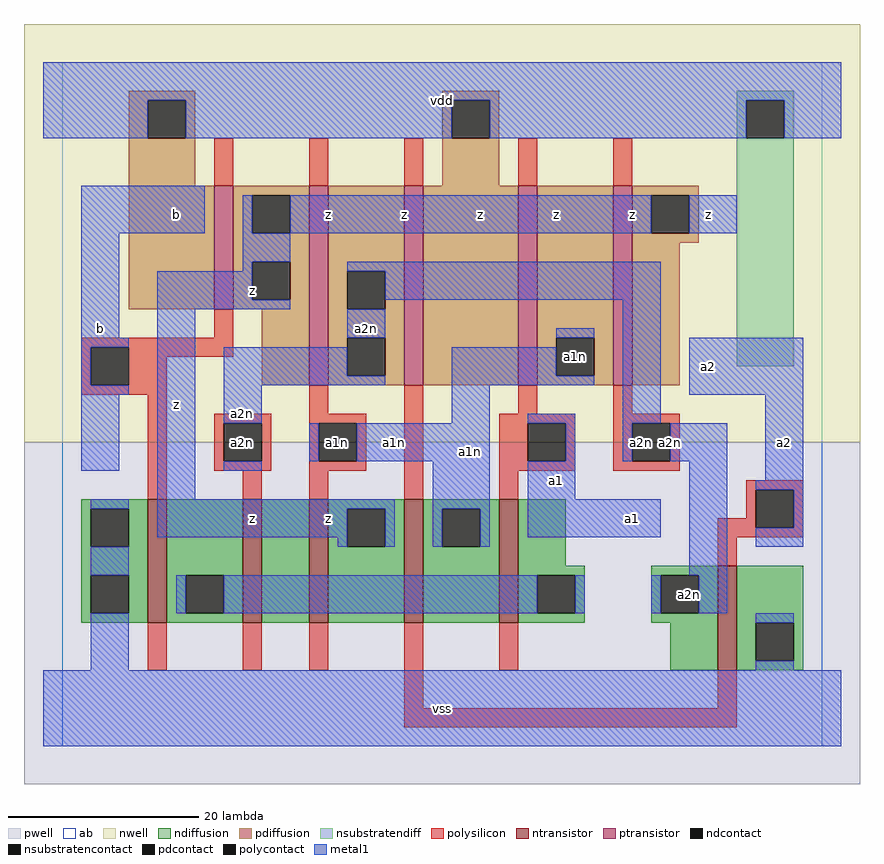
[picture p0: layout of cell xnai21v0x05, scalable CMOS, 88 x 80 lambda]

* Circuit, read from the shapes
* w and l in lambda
.subckt xnai21v0x05 a1 a1n a2 a2n b vdd vss z
M1 n1 b vss VSUBS nfet w=13 l=2
M2 n2 a2n n1 VSUBS nfet w=13 l=2
M3 z a1n n2 VSUBS nfet w=13 l=2
M4 a1n a2 z VSUBS nfet w=13 l=2
M5 n1 a1 a1n VSUBS nfet w=13 l=2
M6 vss a2 a2n VSUBS nfet w=11 l=2
M7 z b vdd vdd pfet w=13 l=2
M8 a2n a1n z vdd pfet w=21 l=2
M9 vdd a2 a2n vdd pfet w=21 l=2
M10 a1n a1 vdd vdd pfet w=21 l=2
M11 z a2n a1n vdd pfet w=21 l=2
.ends

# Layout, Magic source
magic
tech scmos
<< ab >>
rect 0 0 80 72
<< pwell >>
rect -4 -4 84 32
<< nwell >>
rect -4 32 84 76
<< polysilicon >>
rect 16 59 18 64
rect 26 59 28 64
rect 36 59 38 64
rect 48 59 50 64
rect 58 59 60 64
rect 16 43 18 46
rect 2 42 18 43
rect 2 38 3 42
rect 7 41 18 42
rect 7 38 11 41
rect 2 37 11 38
rect 9 26 11 37
rect 26 35 28 38
rect 16 34 22 35
rect 16 30 17 34
rect 21 30 22 34
rect 16 29 22 30
rect 26 34 32 35
rect 26 30 27 34
rect 31 30 32 34
rect 26 29 32 30
rect 19 26 21 29
rect 26 26 28 29
rect 36 26 38 38
rect 48 35 50 38
rect 58 35 60 38
rect 46 34 54 35
rect 46 30 49 34
rect 53 30 54 34
rect 46 29 54 30
rect 58 34 65 35
rect 58 30 60 34
rect 64 30 65 34
rect 58 29 65 30
rect 46 26 48 29
rect 72 27 78 28
rect 72 24 73 27
rect 69 23 73 24
rect 77 23 78 27
rect 69 22 78 23
rect 69 19 71 22
rect 9 8 11 13
rect 19 8 21 13
rect 26 8 28 13
rect 36 4 38 13
rect 46 8 48 13
rect 69 4 71 8
rect 36 2 71 4
<< ndiffusion >>
rect 2 25 9 26
rect 2 21 3 25
rect 7 21 9 25
rect 2 18 9 21
rect 2 14 3 18
rect 7 14 9 18
rect 2 13 9 14
rect 11 18 19 26
rect 11 14 13 18
rect 17 14 19 18
rect 11 13 19 14
rect 21 13 26 26
rect 28 25 36 26
rect 28 21 30 25
rect 34 21 36 25
rect 28 13 36 21
rect 38 25 46 26
rect 38 21 40 25
rect 44 21 46 25
rect 38 13 46 21
rect 48 19 53 26
rect 48 18 55 19
rect 48 14 50 18
rect 54 14 55 18
rect 48 13 55 14
rect 62 18 69 19
rect 62 14 63 18
rect 67 14 69 18
rect 62 13 69 14
rect 64 8 69 13
rect 71 13 78 19
rect 71 9 73 13
rect 77 9 78 13
rect 71 8 78 9
<< pdiffusion >>
rect 7 68 14 69
rect 7 64 9 68
rect 13 64 14 68
rect 40 68 46 69
rect 40 64 41 68
rect 45 64 46 68
rect 7 59 14 64
rect 40 59 46 64
rect 7 46 16 59
rect 18 58 26 59
rect 18 54 20 58
rect 24 54 26 58
rect 18 51 26 54
rect 18 47 20 51
rect 24 47 26 51
rect 18 46 26 47
rect 21 38 26 46
rect 28 50 36 59
rect 28 46 30 50
rect 34 46 36 50
rect 28 43 36 46
rect 28 39 30 43
rect 34 39 36 43
rect 28 38 36 39
rect 38 38 48 59
rect 50 43 58 59
rect 50 39 52 43
rect 56 39 58 43
rect 50 38 58 39
rect 60 58 67 59
rect 60 54 62 58
rect 66 54 67 58
rect 60 53 67 54
rect 60 38 65 53
<< metal1 >>
rect -2 68 82 72
rect -2 64 9 68
rect 13 64 41 68
rect 45 64 72 68
rect 76 64 82 68
rect 2 54 15 59
rect 19 54 20 58
rect 24 54 62 58
rect 66 54 71 58
rect 2 43 6 54
rect 19 51 24 54
rect 19 50 20 51
rect 10 47 20 50
rect 10 46 24 47
rect 30 50 63 51
rect 34 47 63 50
rect 2 42 7 43
rect 2 38 3 42
rect 2 37 7 38
rect 2 29 6 37
rect 10 26 14 46
rect 30 43 34 46
rect 17 39 30 42
rect 52 43 56 44
rect 17 38 34 39
rect 41 39 52 42
rect 41 38 56 39
rect 17 34 21 38
rect 41 34 45 38
rect 26 30 27 34
rect 31 30 45 34
rect 17 29 21 30
rect 3 25 7 26
rect 10 25 35 26
rect 10 22 30 25
rect 29 21 30 22
rect 34 21 35 25
rect 39 25 45 30
rect 39 21 40 25
rect 44 21 45 25
rect 49 34 54 35
rect 53 30 54 34
rect 59 34 63 47
rect 66 37 78 43
rect 59 30 60 34
rect 64 30 70 34
rect 49 26 54 30
rect 49 22 63 26
rect 3 18 7 21
rect 66 18 70 30
rect 74 28 78 37
rect 73 27 78 28
rect 77 23 78 27
rect 73 21 78 23
rect 12 14 13 18
rect 17 14 50 18
rect 54 14 55 18
rect 62 14 63 18
rect 67 14 70 18
rect 3 8 7 14
rect 73 13 77 14
rect 73 8 77 9
rect -2 0 82 8
<< ntransistor >>
rect 9 13 11 26
rect 19 13 21 26
rect 26 13 28 26
rect 36 13 38 26
rect 46 13 48 26
rect 69 8 71 19
<< ptransistor >>
rect 16 46 18 59
rect 26 38 28 59
rect 36 38 38 59
rect 48 38 50 59
rect 58 38 60 59
<< polycontact >>
rect 3 38 7 42
rect 17 30 21 34
rect 27 30 31 34
rect 49 30 53 34
rect 60 30 64 34
rect 73 23 77 27
<< ndcontact >>
rect 3 21 7 25
rect 3 14 7 18
rect 13 14 17 18
rect 30 21 34 25
rect 40 21 44 25
rect 50 14 54 18
rect 63 14 67 18
rect 73 9 77 13
<< pdcontact >>
rect 9 64 13 68
rect 41 64 45 68
rect 20 54 24 58
rect 20 47 24 51
rect 30 46 34 50
rect 30 39 34 43
rect 52 39 56 43
rect 62 54 66 58
<< nsubstratencontact >>
rect 72 64 76 68
<< nsubstratendiff >>
rect 71 68 77 69
rect 71 64 72 68
rect 76 64 77 68
rect 71 40 77 64
<< labels >>
rlabel polycontact 19 32 19 32 6 a2n
rlabel polycontact 29 32 29 32 6 a1n
rlabel polycontact 61 32 61 32 6 a2n
rlabel metal1 4 44 4 44 6 b
rlabel metal1 20 24 20 24 6 z
rlabel metal1 28 24 28 24 6 z
rlabel metal1 19 35 19 35 6 a2n
rlabel metal1 12 36 12 36 6 z
rlabel metal1 20 48 20 48 6 z
rlabel metal1 28 56 28 56 6 z
rlabel metal1 12 56 12 56 6 b
rlabel metal1 40 4 40 4 6 vss
rlabel metal1 43 31 43 31 6 a1n
rlabel metal1 35 32 35 32 6 a1n
rlabel metal1 32 44 32 44 6 a2n
rlabel metal1 44 56 44 56 6 z
rlabel metal1 36 56 36 56 6 z
rlabel metal1 40 68 40 68 6 vdd
rlabel metal1 60 24 60 24 6 a1
rlabel metal1 52 28 52 28 6 a1
rlabel pdcontact 54 41 54 41 6 a1n
rlabel metal1 60 56 60 56 6 z
rlabel metal1 52 56 52 56 6 z
rlabel ndcontact 66 16 66 16 6 a2n
rlabel metal1 76 32 76 32 6 a2
rlabel metal1 64 32 64 32 6 a2n
rlabel metal1 68 40 68 40 6 a2
rlabel metal1 68 56 68 56 6 z
<< end >>
